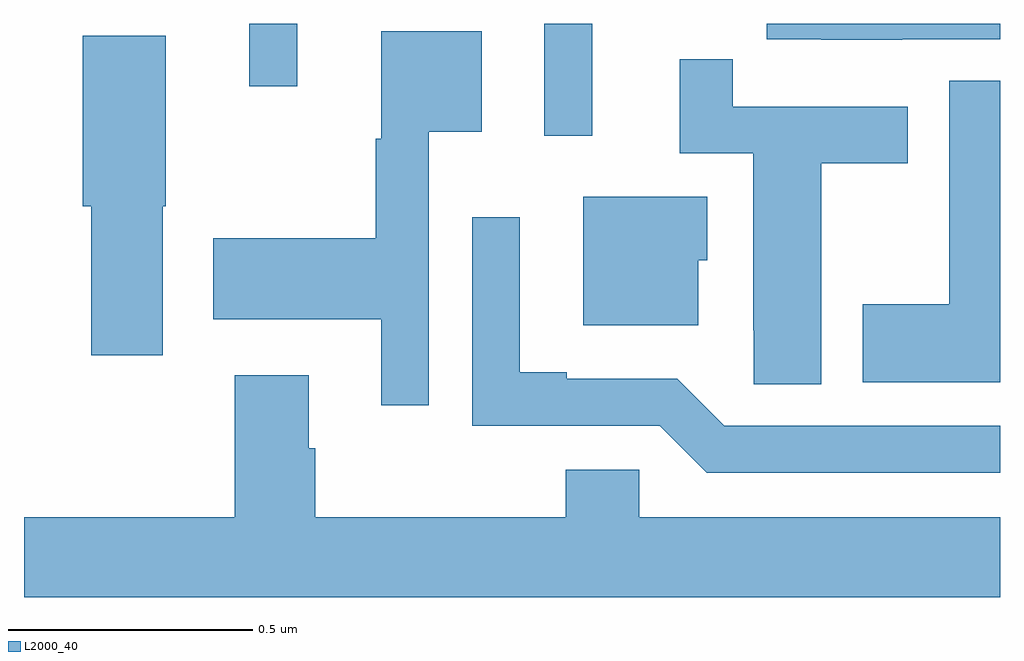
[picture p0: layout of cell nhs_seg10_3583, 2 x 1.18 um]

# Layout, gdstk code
import gdstk
lib = gdstk.Library(unit=1e-6, precision=1e-09)
def R(c, l, rs):  # rectangles x0, y0, x1, y1
    for r in rs: c.add(gdstk.rectangle(r[:2], r[2:], *l))
def P(c, l, *ps):  # polygons
    for p in ps: c.add(gdstk.Polygon(p, *l))
L2000_40 = (2000, 40)

nhs_seg10_3583 = lib.new_cell('nhs_seg10_3583')
R(nhs_seg10_3583, L2000_40, [(156.066,1293.27,156.164,1293.5), (155.462,1293.372,155.56,1293.5)])
P(nhs_seg10_3583, L2000_40, [(156.8,1293.468),(157,1293.468),(157,1293.5),(156.522,1293.5),(156.522,1293.468),(156.634,1293.468),(156.634,1293.467),(156.8,1293.467)],
  [(155.829,1293.278),(155.938,1293.278),(155.938,1293.484),(155.732,1293.484),(155.732,1293.264),(155.721,1293.264),(155.721,1293.06),(155.388,1293.06),(155.388,1292.894),(155.732,1292.894),(155.732,1292.718),(155.829,1292.718)],
  [(155.284,1293.126),(155.29,1293.126),(155.29,1293.475),(155.12,1293.475),(155.12,1293.126),(155.138,1293.126),(155.138,1292.82),(155.284,1292.82)],
  [(156.634,1293.214),(156.811,1293.214),(156.811,1293.33),(156.452,1293.33),(156.452,1293.427),(156.344,1293.427),(156.344,1293.234),(156.494,1293.234),(156.494,1292.872),(156.495,1292.872),(156.495,1292.761),(156.634,1292.761)],
  [(157,1293.383),(156.896,1293.383),(156.896,1292.925),(156.719,1292.925),(156.719,1292.765),(157,1292.765)],
  [(156.382,1293.015),(156.4,1293.015),(156.4,1293.145),(156.146,1293.145),(156.146,1292.882),(156.382,1292.882)],
  [(157,1292.676),(156.435,1292.676),(156.339,1292.772),(156.112,1292.772),(156.112,1292.785),(156.016,1292.785),(156.016,1293.103),(155.919,1293.103),(155.919,1292.676),(156.303,1292.676),(156.399,1292.58),(157,1292.58)],
  [(157,1292.488),(156.261,1292.488),(156.261,1292.586),(156.11,1292.586),(156.11,1292.488),(155.597,1292.488),(155.597,1292.63),(155.584,1292.63),(155.584,1292.779),(155.432,1292.779),(155.432,1292.488),(155,1292.488),(155,1292.324),(157,1292.324)])

lib.write_gds('nhs_seg10_3583.gds')
